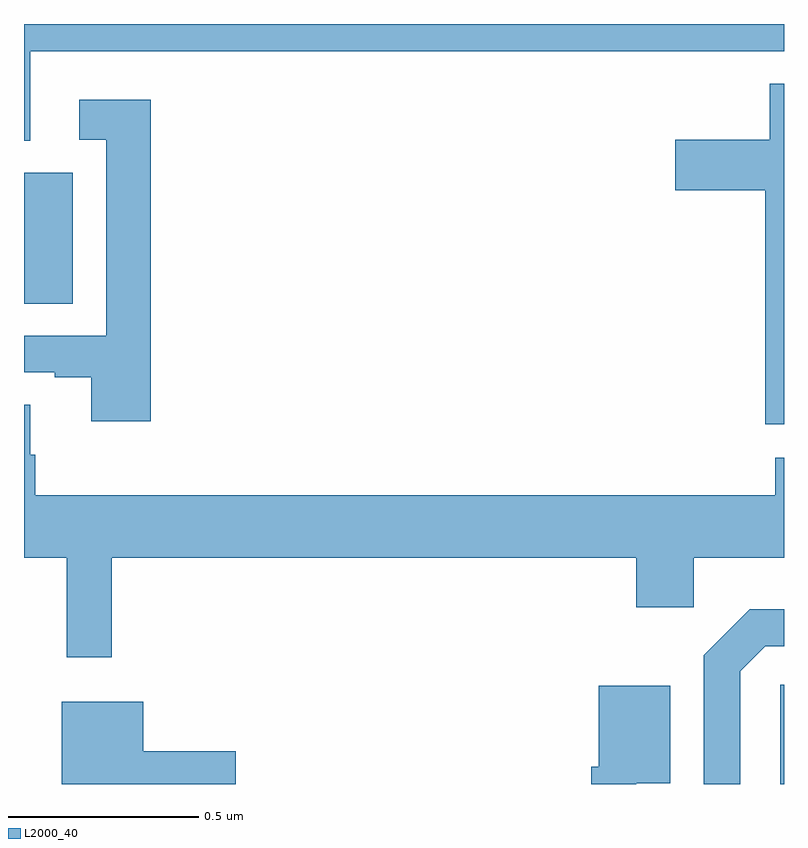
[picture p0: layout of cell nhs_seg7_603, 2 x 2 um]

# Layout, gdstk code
import gdstk
lib = gdstk.Library(unit=1e-6, precision=1e-09)
def R(c, l, rs):  # rectangles x0, y0, x1, y1
    for r in rs: c.add(gdstk.rectangle(r[:2], r[2:], *l))
def P(c, l, *ps):  # polygons
    for p in ps: c.add(gdstk.Polygon(p, *l))
L2000_40 = (2000, 40)

nhs_seg7_603 = lib.new_cell('nhs_seg7_603')
R(nhs_seg7_603, L2000_40, [(120.99,1020,121,1020.261), (119,1021.264,119.128,1021.608)])
P(nhs_seg7_603, L2000_40, [(119.017,1021.928),(121,1021.928),(121,1022),(119,1022),(119,1021.693),(119.017,1021.693)],
  [(121,1021.843),(120.962,1021.843),(120.962,1021.696),(120.714,1021.696),(120.714,1021.562),(120.95,1021.562),(120.95,1020.947),(121,1020.947)],
  [(119.333,1021.801),(119.145,1021.801),(119.145,1021.695),(119.217,1021.695),(119.217,1021.179),(119,1021.179),(119,1021.083),(119.081,1021.083),(119.081,1021.071),(119.177,1021.071),(119.177,1020.954),(119.333,1020.954)],
  [(119.231,1020.596),(120.611,1020.596),(120.611,1020.465),(120.762,1020.465),(120.762,1020.596),(121,1020.596),(121,1020.859),(120.977,1020.859),(120.977,1020.76),(119.03,1020.76),(119.03,1020.866),(119.017,1020.866),(119.017,1020.998),(119,1020.998),(119,1020.596),(119.113,1020.596),(119.113,1020.333),(119.231,1020.333)],
  [(120.885,1020.297),(120.951,1020.363),(121,1020.363),(121,1020.46),(120.91,1020.46),(120.789,1020.339),(120.789,1020),(120.885,1020)],
  [(120.611,1020.002),(120.7,1020.002),(120.7,1020.259),(120.512,1020.259),(120.512,1020.045),(120.493,1020.045),(120.493,1020),(120.611,1020)],
  [(119.557,1020.086),(119.314,1020.086),(119.314,1020.217),(119.099,1020.217),(119.099,1020),(119.557,1020)])

lib.write_gds('nhs_seg7_603.gds')
